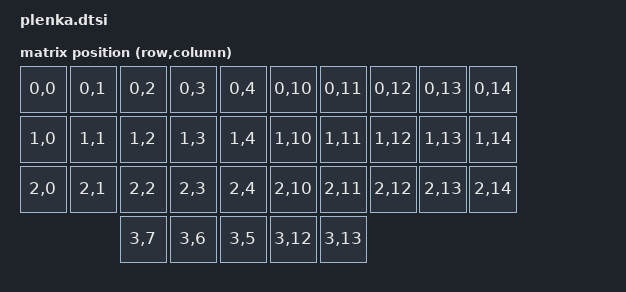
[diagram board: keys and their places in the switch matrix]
/* plenka.dtsi */
#include <dt-bindings/zmk/matrix_transform.h>

/ {
    chosen {
        zmk,kscan = &kscan0;
        zmk,matrix-transform = &default_transform;
    };

    default_transform: matrix_transform {
        compatible = "zmk,matrix-transform";
        columns = <15>;
        rows = <4>;
        map = <
            /* 1-4, 10-14, 20-24, 30-32 */                  /* 5-9, 15-19, 25-29, 33, 34 */
            RC(0,0) RC(0,1) RC(0,2) RC(0,3) RC(0,4)         RC(0,10) RC(0,11) RC(0,12) RC(0,13) RC(0,14)
            RC(1,0) RC(1,1) RC(1,2) RC(1,3) RC(1,4)         RC(1,10) RC(1,11) RC(1,12) RC(1,13) RC(1,14)
            RC(2,0) RC(2,1) RC(2,2) RC(2,3) RC(2,4)         RC(2,10) RC(2,11) RC(2,12) RC(2,13) RC(2,14)
            /* Thumb block (Row 3, Cols 5-7) */
                            RC(3,7) RC(3,6) RC(3,5)         RC(3,12) RC(3,13)
        >;
    };

    kscan0: kscan {
        compatible = "zmk,kscan-gpio-matrix";
        diode-direction = "col2row";
    };
};


